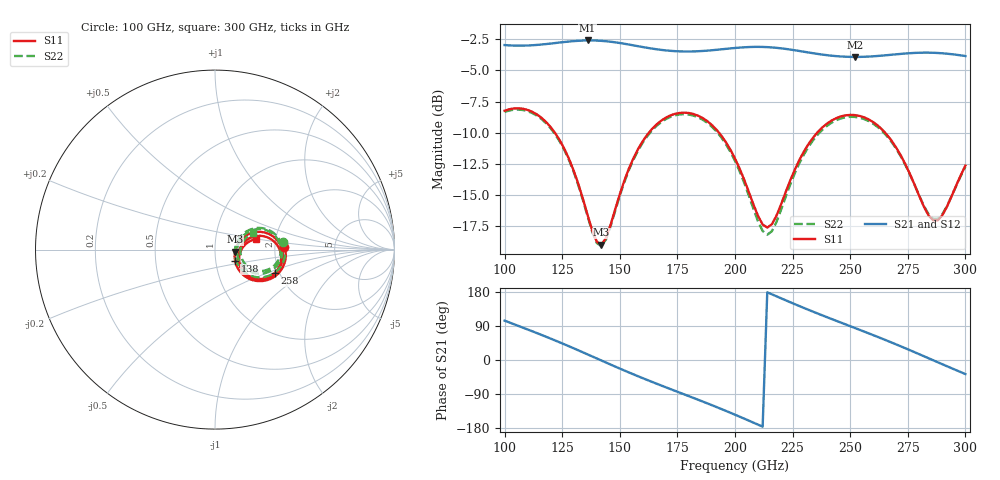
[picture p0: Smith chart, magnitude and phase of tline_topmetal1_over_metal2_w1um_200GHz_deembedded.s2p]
! Created with skrf 2.0.1 (http://scikit-rf.org).
# GHz S DB R 50.0
!freq dBS11 angS11 dBS21 angS21 dBS12 angS12 dBS22 angS22
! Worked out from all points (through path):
!   101 points, 100 GHz to 300 GHz, reference 50 ohm
!   highest |S21| = -2.59 dB at 136 GHz (marker M1); lowest = -3.9 dB at 252 GHz (marker M2)
!   group delay of S21, straight-line fit = 6.95 ps
!   lowest |S11| = -19.0 dB at 142 GHz (marker M3), VSWR 1.25, Z = 62.5 - j1.45 ohm
!   |S11| at or under -10 dB: 121.8 GHz to 162.6 GHz (40.83 GHz wide, 28.7 % of centre); 193 GHz to 235.7 GHz (42.66 GHz wide, 19.9 % of centre); 265.1 GHz to end of sweep
!   |S22| runs from -19.1 to -8.1 dB; largest |S21 - S12| = 7.6e-14
!   S11 on the Smith chart (normalised r, x): 100 GHz: 2.26, +0.08; 138 GHz: 1.24, -0.16; 258 GHz: 1.88, -0.57; 300 GHz: 1.57, +0.19
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100  -8.23 2.3  -2.96 103.9  -2.96 103.9  -8.34 6.1
110  -8.17 -14.7  -2.99 80.5  -2.99 80.5  -8.27 -10.7
118  -9.14 -27.9  -2.87 61.4  -2.87 61.4  -9.24 -23.7
126  -11.32 -38.9  -2.71 41.3  -2.71 41.3  -11.42 -34.5
134  -15.32 -40.3  -2.59 20.2  -2.59 20.2  -15.42 -35.6
136  -16.61 -36.4  -2.59 14.8  -2.59 14.8  -16.71 -31.7
138  -17.84 -29.3  -2.59 9.5  -2.59 9.5  -17.95 -24.6
142  -19.00 -5.9  -2.62 -1.3  -2.62 -1.3  -19.12 -1.0
156  -12.02 23.2  -2.98 -38.0  -2.98 -38.0  -12.14 28.5
168  -9.03 7.7  -3.34 -67.3  -3.34 -67.3  -9.14 13.4
184  -8.64 -17.6  -3.45 -104.9  -3.45 -104.9  -8.76 -11.6
200  -12.08 -37.6  -3.19 -144.3  -3.19 -144.3  -12.27 -31.7
214  -17.63 -9.5  -3.12 178.7  -3.12 178.7  -18.20 -2.3
222  -14.78 16.7  -3.27 157.6  -3.27 157.6  -15.15 26.0
234  -10.37 12.8  -3.61 127.3  -3.61 127.3  -10.58 22.1
252  -8.58 -12.7  -3.91 84.6  -3.91 84.6  -8.73 -3.1
258  -8.93 -21.6  -3.88 70.4  -3.88 70.4  -9.06 -11.8
268  -10.65 -34.4  -3.73 46.0  -3.73 46.0  -10.76 -24.3
278  -14.21 -37.2  -3.59 20.5  -3.59 20.5  -14.22 -26.7
286  -17.05 -16.1  -3.58 -0.6  -3.58 -0.6  -16.93 -6.3
290  -16.64 0.1  -3.62 -11.2  -3.62 -11.2  -16.55 9.2
300  -12.65 14.3  -3.84 -37.1  -3.84 -37.1  -12.73 23.3
